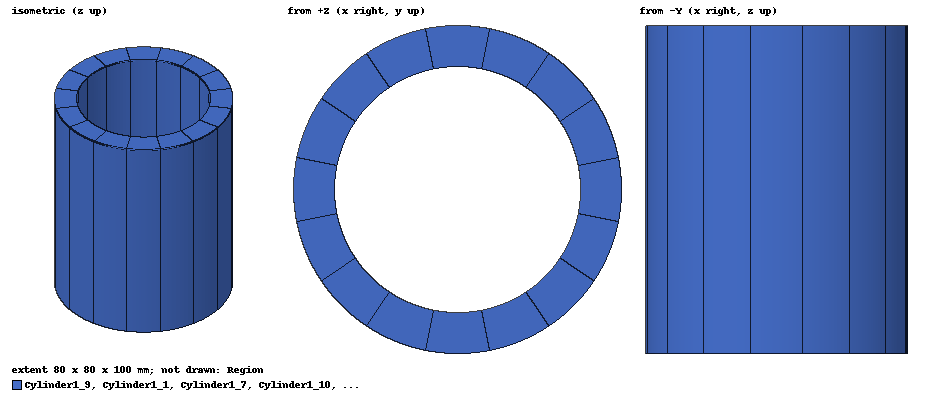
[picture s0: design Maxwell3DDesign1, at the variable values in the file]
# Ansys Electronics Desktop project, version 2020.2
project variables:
  $r = max($position_y_touch,max($position_x_touch,$position_sweetspot_touch))+$move_r
  $mag_bredth = 10mm
  $mag_width = 10mm
  $mag_length = 10mm
  $Angle_between = 0.39269908rad
  $angle1 = ($Angle_between*1*2) rad
  $angle2 = ($Angle_between*2*2) rad
  $angle3 = ($Angle_between*3*2) rad
  $angle4 = ($Angle_between*4*2) rad
  $angle5 = ($Angle_between*5*2) rad
  $angle6 = ($Angle_between*6*2) rad
  $angle7 = ($Angle_between*7*2) rad
  $angle8 = ($Angle_between*8*2) rad
  $angle9 = ($Angle_between*9*2) rad
  $angle10 = ($Angle_between*10*2) rad
  $angle11 = ($Angle_between*11*2) rad
  $angle12 = ($Angle_between*12*2) rad
  $angle13 = ($Angle_between*13*2) rad
  $angle14 = ($Angle_between*14*2) rad
  $angle15 = ($Angle_between*15*2) rad
  $sweet_spot = 40mm
  $swet_spot_length = 30mm
  $length_between_row = 3.5mm
  $num_of_rows = 5
  $buffer = 10
  $num_of_sheets = 15
  $length_between_sheet = ((($num_of_rows-1)*$length_between_row)+$mag_length)/$num_of_sheets
  $move_r = 11.2562mm
  $position_x_touch = ($mag_bredth+(cos($angle1)*($mag_width+$mag_bredth)))/(2*sin($Angle_between))
  $position_y_touch = ($mag_width+(cos($angle1)*($mag_width+$mag_bredth)))/(2*sin($Angle_between))
  $position_sweetspot_touch = sqrt(2*sqr($sweet_spot/2))+sqrt(sqr($mag_width/2)+sqr($mag_bredth/2))
  $r_outer = 40mm
  $r_iner = 30mm
  $Hieght = 100mm
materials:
  vacuum: permittivity=1
  NdFe30: permittivity=1 permeability=1.044573 conductivity=625000 magnetic_coercivity{Magnitude=-838000A_per_meter DirComp1=1 DirComp2=0 DirComp3=0} lande_g_factor=2
  NdFe35: permittivity=1 permeability=1.0997785 conductivity=625000 magnetic_coercivity{Magnitude=-890000A_per_meter DirComp1=1 DirComp2=0 DirComp3=0} lande_g_factor=2

design Maxwell3DDesign1 (Maxwell 3D, Magnetostatic, model units mm)
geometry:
  coordinate_system RelativeCS1 = origin=($r*cos($Angle_between*1), $r*sin($Angle_between*1), 0mm) x=(cos($angle1), sin($angle1), 0mm) y=(-sin($angle1), cos($angle1), 0mm)
  coordinate_system RelativeCS2 = origin=($r*cos($Angle_between*2), $r*sin($Angle_between*2), 0mm) x=(cos($angle2), sin($angle2), 0mm) y=(-sin($angle2), cos($angle2), 0mm)
  coordinate_system RelativeCS3 = origin=($r*cos($Angle_between*3), $r*sin($Angle_between*3), 0mm) x=(cos($angle3), sin($angle3), 0mm) y=(-sin($angle3), cos($angle3), 0mm)
  coordinate_system RelativeCS4 = origin=($r*cos($Angle_between*4), $r*sin($Angle_between*4), 0mm) x=(cos($angle4), sin($angle4), 0mm) y=(-sin($angle4), cos($angle4), 0mm)
  coordinate_system RelativeCS5 = origin=($r*cos($Angle_between*5), $r*sin($Angle_between*5), 0mm) x=(cos($angle5), sin($angle5), 0mm) y=(-5mm, 45mm, 0mm)
  coordinate_system RelativeCS6 = origin=($r*cos($Angle_between*6), $r*sin($Angle_between*6), 0mm) x=(cos($angle6), sin($angle6), 0mm) y=(-sin($angle6), cos($angle6), 0mm)
  coordinate_system RelativeCS7 = origin=($r*cos($Angle_between*7), $r*sin($Angle_between*7), 0mm) x=(cos($angle7), sin($angle7), 0mm) y=(-sin($angle7), cos($angle7), 0mm)
  coordinate_system RelativeCS8 = origin=($r*cos($Angle_between*8), $r*sin($Angle_between*8), 0mm) x=(cos($angle8), sin($angle8), 0mm) y=(-sin($angle8), cos($angle8), 0mm)
  coordinate_system RelativeCS9 = origin=($r*cos($Angle_between*9), $r*sin($Angle_between*9), 0mm) x=(cos($angle9), sin($angle9), 0mm) y=(-sin($angle9), cos($angle9), 0mm)
  coordinate_system RelativeCS10 = origin=($r*cos($Angle_between*10), $r*sin($Angle_between*10), 0mm) x=(cos($angle10), sin($angle10), 0mm) y=(-sin($angle10), cos($angle10), 0mm)
  coordinate_system RelativeCS11 = origin=($r*cos($Angle_between*11), $r*sin($Angle_between*11), 0mm) x=(cos($angle11), sin($angle11), 0mm) y=(-sin($angle11), cos($angle11), 0mm)
  coordinate_system RelativeCS12 = origin=($r*cos($Angle_between*12), $r*sin($Angle_between*12), 0mm) x=(cos($angle12), sin($angle12), 0mm) y=(-sin($angle12), cos($angle12), 0mm)
  coordinate_system RelativeCS13 = origin=($r*cos($Angle_between*13), $r*sin($Angle_between*13), 0mm) x=(cos($angle13), sin($angle13), 0mm) y=(-sin($angle13), cos($angle13), 0mm)
  coordinate_system RelativeCS14 = origin=($r*cos($Angle_between*14), $r*sin($Angle_between*14), 0mm) x=(cos($angle14), sin($angle14), 0mm) y=(-sin($angle14), cos($angle14), 0mm)
  coordinate_system RelativeCS15 = origin=($r*cos($Angle_between*15), $r*sin($Angle_between*15), 0mm) x=(cos($angle15), sin($angle15), 0mm) y=(-sin($angle15), cos($angle15), 0mm)
  coordinate_system RelativeCS0 = origin=($r*cos($Angle_between*0), $r*sin($Angle_between*0), 0mm) x=(cos(0) mm, sin(0) mm, 0mm) y=(-sin(0) mm, cos(0) mm, 0mm)
  coordinate_system center = origin=(0mm, 0mm, ($num_of_rows*$mag_length+(($num_of_rows-1)*$length_between_row))/2-$mag_length/2) x=(1mm, 0mm, 0mm) y=(0mm, 1mm, 0mm)
  Rectangle1 [non-model] = rectangle(corner=(-($r+$buffer), -($r+$buffer), -$mag_length/2), x_size=($r+$buffer)*2, y_size=($r+$buffer)*2)
  Rectangle1_1..Rectangle1_15 [non-model] = Rectangle1.duplicate_along_line(step=(0mm, 0mm, $length_between_sheet), total=16) in center
  point Point1 = (-110000mm, -90000mm, 0mm)
  plane Plane1 = base (65.333333mm, 0mm, 0mm) normal (4.6666667mm, -25mm, 0mm)
  Cylinder1 [NdFe35, oriented by RelativeCS4] = cylinder(axis=Z, base_centre=(0mm, 0mm, 0mm), radius=$r_outer, height=$Hieght)
  Cylinder2 = cylinder(axis=Z, base_centre=(0mm, 0mm, 0mm), radius=$r_iner, height=$Hieght)
  Cylinder1.subtract(Cylinder2)
  Rectangle2 = rectangle(corner=(40mm, 0mm, 0mm), z_size=40mm, x_size=-88mm)
  Cylinder1.subtract(Rectangle2)
  coordinate_system RelativeCS16 = origin=(0mm, 0mm, 0mm) x=(cos($Angle_between/2), sin($Angle_between/2), 0mm) y=(-sin($Angle_between/2), cos($Angle_between/2), 0mm)
  coordinate_system RelativeCS17 = origin=(0mm, 0mm, 0mm) x=(cos($Angle_between/2), -sin($Angle_between/2), 0mm) y=(sin($Angle_between/2), cos($Angle_between/2), 0mm)
  Box1 = box(corner=(0mm, -$r_outer, 0mm), size=(-$r_outer, $r_outer*2, $Hieght)) in RelativeCS16
  Box2 = box(corner=(0mm, -$r_outer, 0mm), size=($r_outer, $r_outer*2, $Hieght)) in RelativeCS17
  Cylinder1.subtract(Box1, Box2)
  Cylinder1_1 [NdFe35, oriented by RelativeCS5], Cylinder1_2 [NdFe35, oriented by RelativeCS6], Cylinder1_3 [NdFe35, oriented by RelativeCS7], Cylinder1_4 [NdFe35, oriented by RelativeCS8], Cylinder1_5 [NdFe35, oriented by RelativeCS9], Cylinder1_6 [NdFe35, oriented by RelativeCS10], Cylinder1_7 [NdFe35, oriented by RelativeCS11], Cylinder1_8 [NdFe35, oriented by RelativeCS12], Cylinder1_9 [NdFe35, oriented by RelativeCS13], Cylinder1_10 [NdFe35, oriented by RelativeCS14], Cylinder1_11 [NdFe35, oriented by RelativeCS15], Cylinder1_12 [NdFe35, oriented by RelativeCS0], Cylinder1_13 [NdFe35, oriented by RelativeCS1], Cylinder1_14 [NdFe35, oriented by RelativeCS2], Cylinder1_15 [NdFe35, oriented by RelativeCS3] = Cylinder1.duplicate_around_axis(axis=Z, angle=(360/16) deg, total=16)
  sweet_spot [vacuum, non-model] = box(corner=(0mm, 0mm, ($Hieght-$swet_spot_length)/2), size=($sweet_spot/2, $sweet_spot/2, $swet_spot_length))
  Region [vacuum] = region(percentage_offset=200 on all sides) in RelativeCS1
  group Rectangle_Group = Rectangle1, Rectangle1_1..Rectangle1_15
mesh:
  initial mesh: GlobalCurvilinear{Apply}
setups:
  solution1: Magnetostatic MaximumPasses=10 MinimumPasses=2 MinimumConvergedPasses=1 PercentRefinement=30 PercentError=1 NonLinearResidual=0.001 SmoothBHCurve
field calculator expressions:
  mean = Mag_B | EnterVolume(sweet_spot) | VolumeValue | Mean
  min = Mag_B | EnterVolume(sweet_spot) | VolumeValue | Minimum
  max = Mag_B | EnterVolume(sweet_spot) | VolumeValue | Maximum
  ppmmin = min | mean | 1000000 | * | /
  ppmmax = max | mean | 1000000 | * | /
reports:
  Calculator Expressions Table 2: dif, mean vs $move_r on solution1 : LastAdaptive [$length_between_row=all]
  Calculator Expressions Table 3: mean, dif vs $move_r on solution1 : LastAdaptive [$length_between_row=all $mag_bredth=all]
  Calculator Expressions Table 4: mean vs $mag_bredth on solution1 : LastAdaptive [$length_between_row=all $move_r=all]
  Calculator Expressions Table 5: mean, dif vs $move_r on solution1 : LastAdaptive [$length_between_row=all]
  Calculator Expressions Table 6: mean vs $mag_bredth on solution1 : LastAdaptive [$length_between_row=all $move_r=all]
  Calculator Expressions Table 7: mean, dif vs $move_r on solution1 : LastAdaptive [$length_between_row=all]
